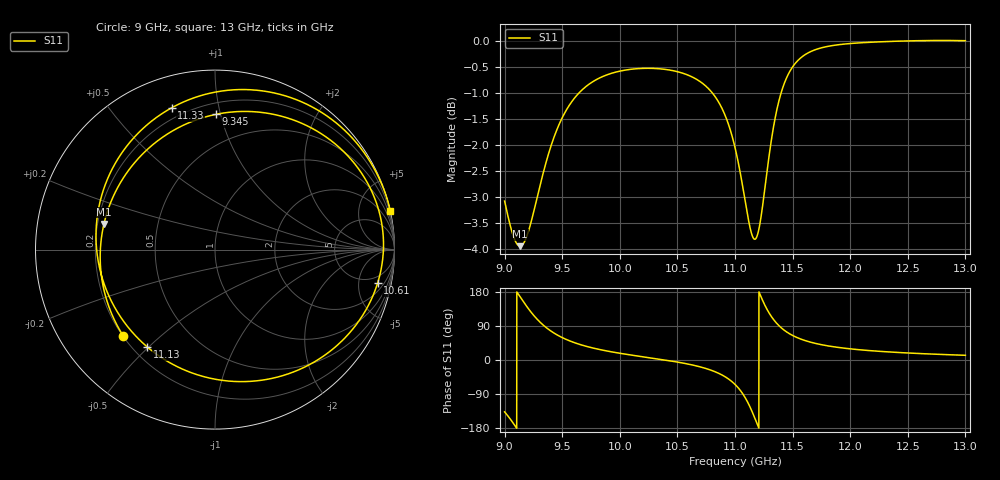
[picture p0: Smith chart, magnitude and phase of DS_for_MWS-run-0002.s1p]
! TOUCHSTONE file generated by CST DESIGN STUDIO
! Date and time: Tue Feb  4 18:27:20 2025
! Project name: C:\Work\MatlabApps\UnitCellOptimizationMatlab\CST\unitcell.cst
! Tree item: Tasks\Sweep1\SPara1\S-Parameters
! Header version: 2024
! Port assignment regex: !\s*Touchstone port\s*([0-9]+)\s*=\s*(CST MWS port|CST DES external port|CST DES block port)\s*(.+)\s* \(\"(.*)\"\)(\s*mode\s*([0-9]+))?.*
! Touchstone port assignment:
! Touchstone port 1 = CST DES external port 1 ("")
# GHz S MA R 50
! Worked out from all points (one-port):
!   4001 points, 9 GHz to 13 GHz, reference 50 ohm
!   lowest |S11| = -3.9 dB at 9.134 GHz (marker M1), VSWR 4.48, Z = 11.3 + j5.43 ohm
!   |S11| at or under -10 dB: nowhere
!   S11 on the Smith chart (normalised r, x): 9 GHz: 0.20, -0.38; 9.345 GHz: 0.28, +0.97; 10.61 GHz: 3.28, -8.51; 11.13 GHz: 0.26, -0.49; 11.33 GHz: 0.15, +0.73; 13 GHz: 0.02, +9.19
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9  0.7016 -136.9
9.073  0.6508 -165.9
9.134  0.635 166.9
9.241  0.6771 122.0
9.345  0.7536 89.6
9.5  0.8432 59.1
9.597  0.8779 46.7
9.709  0.9039 36.1
10  0.9346 17.8
10.5  0.9335 -5.5
10.608  0.9249 -11.7
10.743  0.905 -22.0
10.847  0.8769 -33.6
10.93  0.839 -47.2
11  0.7896 -64.3
11.074  0.7168 -92.3
11.132  0.6605 -125.0
11.181  0.6458 -160.0
11.224  0.6752 168.1
11.281  0.7534 132.0
11.334  0.826 107.0
11.402  0.8921 84.8
11.5  0.9434 64.8
11.587  0.9656 53.5
11.693  0.9796 44.2
12  0.9934 29.4
12.5  0.9992 18.5
13  0.9996 12.4
